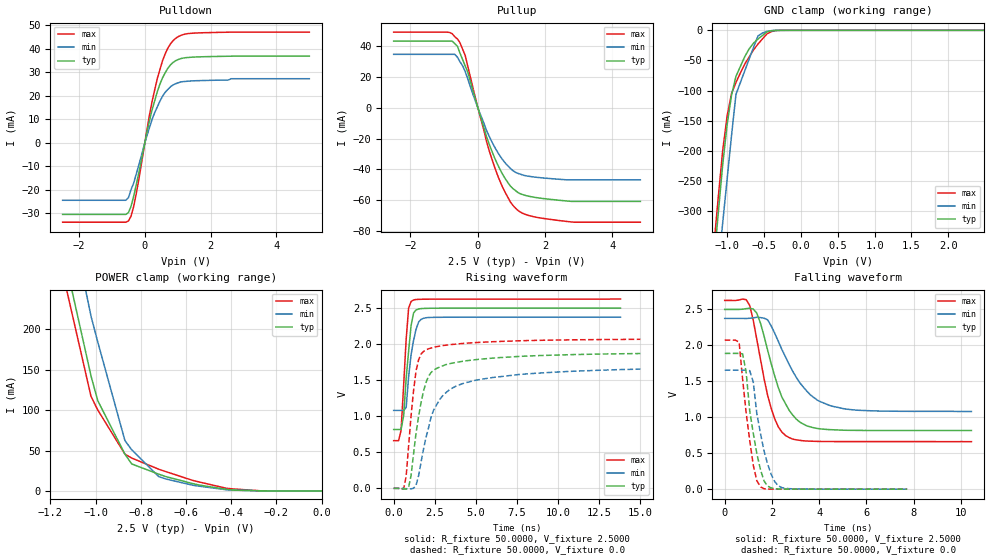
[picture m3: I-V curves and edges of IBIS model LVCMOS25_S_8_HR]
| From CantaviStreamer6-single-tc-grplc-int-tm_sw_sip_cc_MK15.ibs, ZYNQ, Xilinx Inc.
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[Model]  LVCMOS25_S_8_HR
Model_type I/O
Polarity   Non-Inverting
Enable   Active-Low
Vinl = 0.7
Vinh = 1.7
Vmeas =  1.250V
Cref =   0.0F
Rref =   1.0000M
Vref =   0.0V
C_comp   7.1000pF   7.0900pF   7.2400pF
[Temperature Range]   25.0000   85.0000   0.0
[Voltage Range]   2.5000V   2.3750V   2.6250V
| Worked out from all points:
|   slope of the pulldown table from 0 to 0.375 V, typ, clamps not added: 17.4 ohm
|   slope of the pullup table from 0 to 0.375 V, typ, clamps not added: 14.5 ohm
|   GND clamp passes 1 mA (typ) near -0.41 V on its own axis
|   POWER clamp passes 1 mA (typ) near -0.39 V on its own axis
|   rising waveform, R_fixture 50.0000, V_fixture 2.5000: 20-80 % time 368ps typ, 436ps min, 304ps max; typ from 0.816 V to 2.5 V
|   rising waveform, R_fixture 50.0000, V_fixture 0.0: 20-80 % time 860ps typ, 1.52ns min, 539ps max; typ from 0 V to 1.87 V
|   falling waveform, R_fixture 50.0000, V_fixture 2.5000: 20-80 % time 998ps typ, 1.36ns min, 767ps max; typ from 2.5 V to 0.816 V
|   falling waveform, R_fixture 50.0000, V_fixture 0.0: 20-80 % time 501ps typ, 570ps min, 453ps max; typ from 1.89 V to 0 V
[Pulldown]
|Voltage   I(typ)   I(min)   I(max)
-2.5V     -30.56mA   -24.54mA   -33.88mA
-580mV    -30.56mA   -24.54mA   -33.88mA
-500mV    -29.8mA    -23.47mA   -33.37mA
-420mV    -27.14mA   -19.99mA   -31.31mA
-340mV    -22.82mA   -17.26mA   -27.22mA
-180mV    -12.61mA   -9.324mA   -15.44mA
140mV     9.315mA    6.377mA    11.76mA
380mV     21.79mA    15.3mA     27.4mA
620mV     29.83mA    21.47mA    37.93mA
940mV     34.96mA    25.15mA    44.49mA
1.5V      36.48mA    26.37mA    46.69mA
5V        36.87mA    27.25mA    47.12mA
[Pullup]
|Voltage   I(typ)   I(min)   I(max)
-2.5V     43.26mA    34.69mA    49.12mA
-920mV    43.26mA    34.69mA    49.12mA
-760mV    43.26mA    34.69mA    48.09mA
-600mV    39.86mA    32.72mA    44.66mA
-370mV    27.08mA    23.46mA    33.84mA
260mV     -18.45mA   -14.53mA   -21.62mA
500mV     -32.3mA    -25.3mA    -38.3mA
820mV     -46mA      -35.84mA   -54.98mA
1.21V     -55.16mA   -42.66mA   -66.82mA
1.68V     -58.06mA   -44.92mA   -70.75mA
2.79V     -60.73mA   -46.72mA   -74.07mA
4.84V     -60.73mA   -46.72mA   -74.23mA
[GND_clamp]
|Voltage   I(typ)   I(min)   I(max)
-2.5V     -2.37A     -2.439A    -2.344A
-1.18V    -386.3mA   -464.9mA   -358.1mA
-1.12V    -303.6mA   -392.3mA   -277.1mA
-1.06V    -223.2mA   -319.7mA   -199.5mA
-1V       -156.7mA   -247.1mA   -142.2mA
-940mV    -107.5mA   -174.5mA   -104.9mA
-880mV    -76.31mA   -106.3mA   -86.51mA
-700mV    -30.48mA   -47.27mA   -44.02mA
-580mV    -14.33mA   -9.151mA   -22.57mA
-520mV    -8.469mA   -4.462mA   -14.15mA
-280mV    -43.02uA   -85.64uA   -63.58uA
2.48V     14.51nA    96.77nA    10.62nA
[POWER_clamp]
|Voltage   I(typ)   I(min)   I(max)
-2.49V    2.35A      2.418A     2.324A
-1.14V    293.2mA    380.4mA    263.9mA
-1.11V    255.5mA    339.3mA    227.2mA
-1.08V    217.8mA    298.3mA    190.5mA
-1.05V    180.1mA    257.3mA    153.8mA
-1.02V    142.4mA    216.3mA    117mA
-990mV    111.7mA    184.3mA    100.1mA
-870mV    45.56mA    62.36mA    45.56mA
-840mV    33.4mA     50.94mA    40.67mA
-720mV    20.67mA    17.69mA    26.81mA
-420mV    1.953mA    1.414mA    3.211mA
0V        14.74nA    134.2nA    17.9nA
[Ramp]
| variable   typ   min   max
dV/dt_r  1.1220/0.8498n   0.9624/1.5691n   1.2402/0.5372n
dV/dt_f  1.0105/0.9883n   0.7764/1.3417n   1.1781/0.7565n
R_load = 50.0000
[Rising Waveform]
R_fixture= 50.0000
V_fixture= 2.5000
V_fixture_min= 2.3750
V_fixture_max= 2.6250
|time   V(typ)   V(min)   V(max)
0s        815.8mV    1.081V     661.5mV
300ps     815.8mV    1.081V     661.5mV
450ps     815.8mV    1.081V     802.5mV
610ps     1.011V     1.081V     1.439V
760ps     1.525V     1.12V      2.066V
910ps     1.902V     1.547V     2.5V
1.21ns    2.431V     2.05V      2.613V
1.52ns    2.488V     2.308V     2.621V
1.97ns    2.496V     2.366V     2.623V
13.79ns   2.499V     2.374V     2.625V
[Rising Waveform]
R_fixture= 50.0000
V_fixture= 0.0
|time   V(typ)   V(min)   V(max)
0s        0V         0V         0V
610ps     -11.26mV   0V         -4.988mV
760ps     -8.639mV   -5.758mV   165.5mV
910ps     13.66mV    -8.19mV    591.5mV
1.06ns    182.3mV    -6.395mV   1.011V
1.36ns    764.4mV    40.08mV    1.628V
1.82ns    1.353V     550.4mV    1.9V
2.58ns    1.66V      1.146V     1.963V
4.09ns    1.758V     1.444V     2.007V
15ns      1.87V      1.654V     2.067V
[Falling Waveform]
R_fixture= 50.0000
V_fixture= 2.5000
V_fixture_min= 2.3750
V_fixture_max= 2.6250
|time   V(typ)   V(min)   V(max)
0s        2.5V       2.375V     2.625V
910ps     2.511V     2.374V     2.635V
1.06ns    2.516V     2.377V     2.555V
1.36ns    2.448V     2.391V     2.082V
1.97ns    1.744V     2.27V      1.125V
2.27ns    1.414V     2.057V     867.2mV
2.73ns    1.097V     1.734V     717.6mV
3.64ns    865.1mV    1.308V     667.7mV
4.55ns    826.7mV    1.154V     662.3mV
10.45ns   815.9mV    1.081V     661.5mV
[Falling Waveform]
R_fixture= 50.0000
V_fixture= 0.0
|time   V(typ)   V(min)   V(max)
0s        1.888V     1.655V     2.073V
610ps     1.888V     1.655V     2.045V
760ps     1.882V     1.655V     1.527V
910ps     1.623V     1.655V     1.059V
1.06ns    1.09V      1.648V     676.9mV
1.21ns    777.2mV    1.489V     335.1mV
1.52ns    266mV      767.9mV    31.75mV
1.97ns    18.05mV    205.7mV    902.2uV
2.42ns    662.1uV    21.52mV    352.8uV
7.73ns    0V         0V         0V
